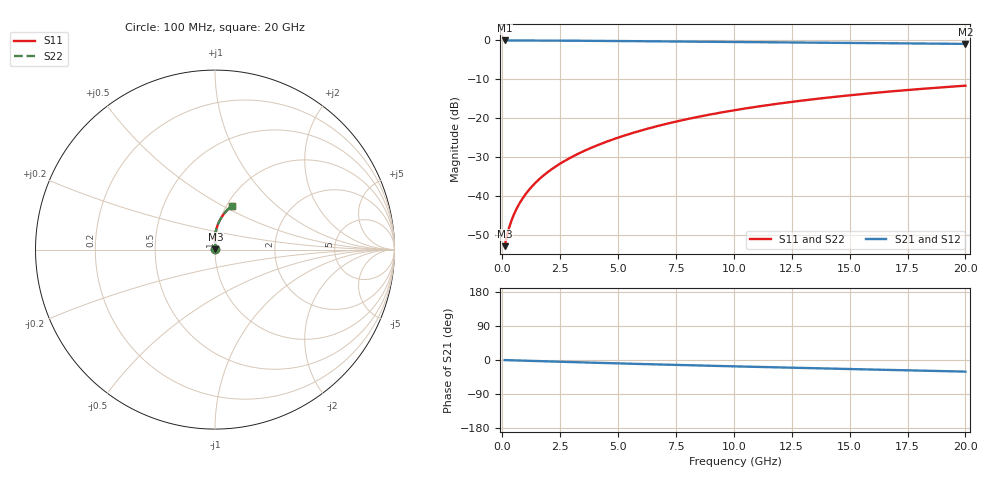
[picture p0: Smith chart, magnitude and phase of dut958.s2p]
! Touchstone file exported from HFSS 2024.1.0
!  File:  C:/UserFiles/LocalFiles/RDL_TSV_Batchsim/temp_RDL_bottom_958_1779942510.aedt
!  Generated:  12:30:44 PM May 28, 2026
!  Design:  RDL_bottom
!  Project:  temp_RDL_bottom_958_1779942510
!  Setup:  Setup1
!  Solution:  Sweep
! Variables:
!  dtsv = 10.80580581um
!  hbump = 3um
!  htsv = 62.81um
!  ldown = 444.61um
!  lrdl = 100um
!  p = 40
!  p1 = 49.41um
!  rhole = 1um
!  t = 450um
!  tdown = 3.44um
!  trdl = 3.915915916um
!  wdown = 26.79um
!  wrdl = 20um
# GHz S MA R 50.000000
! Terminal data exported
! Port[1] = RDL1_T1
! Port[2] = RDL1_T2
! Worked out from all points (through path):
!   200 points, 100 MHz to 20 GHz, reference 50 ohm
!   highest |S21| = -0.02 dB at 100 MHz (marker M1); lowest = -0.9 dB at 20 GHz (marker M2)
!   group delay of S21, straight-line fit = 4.19 ps
!   lowest |S11| = -52.8 dB at 100 MHz (marker M3), VSWR 1.00, Z = 50.2 + j0.121 ohm
!   |S11| at or under -10 dB: start of sweep to end of sweep
!   |S22| runs from -52.8 to -11.6 dB; largest |S21 - S12| = 3.1e-15
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0.1  0.002301 31.6  0.998 -0.2  0.998 -0.2  0.002301 31.6
! Gamma 0 0 0 0
! Port Impedance 50 0 50 0
0.2  0.003124 48.2  0.9979 -0.4  0.9979 -0.4  0.003124 48.2
0.3  0.004024 56.9  0.9977 -0.6  0.9977 -0.6  0.004024 56.9
0.4  0.004932 62.6  0.9975 -0.8  0.9975 -0.8  0.004932 62.6
0.5  0.005847 66.7  0.9974 -1.0  0.9974 -1.0  0.005847 66.7
0.6  0.006774 69.9  0.9973 -1.1  0.9973 -1.1  0.006774 69.9
0.8  0.008668 74.5  0.997 -1.5  0.997 -1.5  0.008669 74.5
1  0.01061 77.7  0.9967 -1.9  0.9967 -1.9  0.01061 77.7
1.2  0.0126 80.1  0.9963 -2.2  0.9963 -2.2  0.0126 80.1
1.7  0.01772 84.0  0.9952 -3.2  0.9952 -3.2  0.01772 84.0
2.2  0.02304 86.4  0.9937 -4.1  0.9937 -4.1  0.02304 86.4
2.8  0.0297 88.2  0.9916 -5.2  0.9916 -5.2  0.0297 88.2
3.5  0.03785 89.5  0.9887 -6.4  0.9887 -6.4  0.03785 89.5
4.2  0.04641 90.2  0.9854 -7.6  0.9854 -7.6  0.04641 90.2
5  0.05665 90.3  0.9814 -9.0  0.9814 -9.0  0.05665 90.3
6.8  0.08109 89.3  0.9715 -11.9  0.9715 -11.9  0.08109 89.3
8.4  0.1038 87.4  0.9626 -14.3  0.9626 -14.3  0.1038 87.4
10.1  0.1284 84.9  0.9532 -16.9  0.9532 -16.9  0.1284 84.9
11.7  0.1514 82.3  0.9447 -19.2  0.9447 -19.2  0.1514 82.3
13.4  0.1755 79.5  0.9358 -21.6  0.9358 -21.6  0.1755 79.5
16.7  0.2206 74.0  0.9188 -26.2  0.9188 -26.2  0.2206 74.0
20  0.2627 68.8  0.902 -30.6  0.902 -30.6  0.2627 68.8
